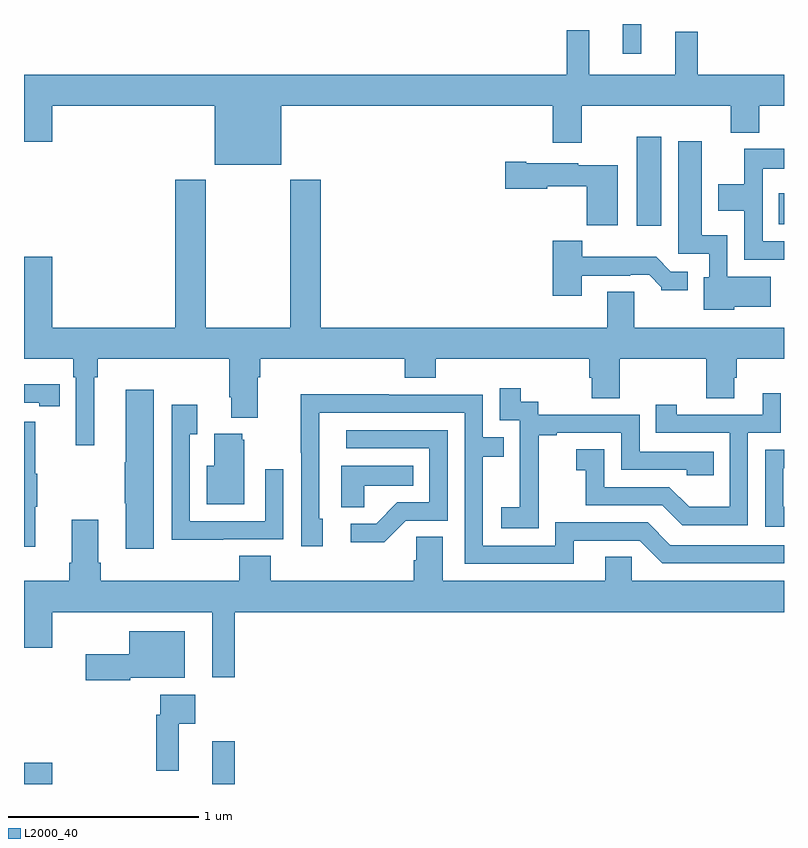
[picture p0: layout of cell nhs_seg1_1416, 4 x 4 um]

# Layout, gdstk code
import gdstk
lib = gdstk.Library(unit=1e-6, precision=1e-09)
def R(c, l, rs):  # rectangles x0, y0, x1, y1
    for r in rs: c.add(gdstk.rectangle(r[:2], r[2:], *l))
def P(c, l, *ps):  # polygons
    for p in ps: c.add(gdstk.Polygon(p, *l))
L2000_40 = (2000, 40)

nhs_seg1_1416 = lib.new_cell('nhs_seg1_1416')
R(nhs_seg1_1416, L2000_40, [(189,512.199,189.148,512.311), (189.992,512.199,190.109,512.425), (192.224,515.136,192.355,515.605), (192.973,515.144,193,515.308), (192.152,516.042,192.249,516.199)])
P(nhs_seg1_1416, L2000_40, [(190.354,515.768),(191.783,515.768),(191.783,515.574),(191.935,515.574),(191.935,515.768),(192.719,515.768),(192.719,515.627),(192.871,515.627),(192.871,515.768),(193,515.768),(193,515.932),(192.545,515.932),(192.545,516.157),(192.428,516.157),(192.428,515.932),(191.975,515.932),(191.975,516.166),(191.857,516.166),(191.857,515.932),(189,515.932),(189,515.58),(189.148,515.58),(189.148,515.768),(190.004,515.768),(190.004,515.459),(190.354,515.459)],
  [(192.738,514.712),(192.931,514.712),(192.931,514.87),(192.702,514.87),(192.702,515.086),(192.568,515.086),(192.568,515.581),(192.443,515.581),(192.443,514.989),(192.606,514.989),(192.606,514.866),(192.578,514.866),(192.578,514.694),(192.738,514.694)],
  [(193,515.055),(192.888,515.055),(192.888,515.438),(193,515.438),(193,515.542),(192.79,515.542),(192.79,515.356),(192.653,515.356),(192.653,515.216),(192.792,515.216),(192.792,514.959),(193,514.959)],
  [(192.124,515.455),(191.916,515.455),(191.916,515.467),(191.644,515.467),(191.644,515.475),(191.532,515.475),(191.532,515.333),(191.754,515.333),(191.754,515.345),(191.962,515.345),(191.962,515.141),(192.124,515.141)],
  [(189.37,514.34),(189.389,514.34),(189.389,514.436),(190.079,514.436),(190.079,514.234),(190.091,514.234),(190.091,514.127),(190.231,514.127),(190.231,514.34),(190.244,514.34),(190.244,514.436),(191.003,514.436),(191.003,514.337),(191.168,514.337),(191.168,514.436),(191.975,514.436),(191.975,514.338),(191.987,514.338),(191.987,514.228),(192.135,514.228),(192.135,514.436),(192.592,514.436),(192.592,514.228),(192.739,514.228),(192.739,514.338),(192.752,514.338),(192.752,514.436),(193,514.436),(193,514.6),(192.211,514.6),(192.211,514.79),(192.071,514.79),(192.071,514.6),(190.562,514.6),(190.562,515.38),(190.402,515.38),(190.402,514.6),(189.957,514.6),(189.957,515.38),(189.797,515.38),(189.797,514.6),(189.148,514.6),(189.148,514.975),(189,514.975),(189,514.436),(189.26,514.436),(189.26,514.34),(189.273,514.34),(189.273,513.981),(189.37,513.981)],
  [(191.935,514.875),(192.191,514.875),(192.191,514.878),(192.29,514.878),(192.354,514.814),(192.354,514.799),(192.493,514.799),(192.493,514.896),(192.405,514.896),(192.327,514.975),(191.938,514.975),(191.938,515.059),(191.783,515.059),(191.783,514.77),(191.935,514.77)],
  [(189.188,514.302),(189.08,514.302),(189.08,514.303),(189,514.303),(189,514.206),(189.08,514.206),(189.08,514.186),(189.188,514.186)],
  [(191.709,513.751),(191.708,513.751),(191.708,514.035),(191.803,514.035),(191.803,514.047),(192.144,514.047),(192.144,513.852),(192.489,513.852),(192.489,513.825),(192.629,513.825),(192.629,513.948),(192.24,513.948),(192.24,514.143),(191.706,514.143),(191.706,514.212),(191.614,514.212),(191.614,514.282),(191.505,514.282),(191.505,514.113),(191.61,514.113),(191.61,513.884),(191.609,513.884),(191.609,513.655),(191.511,513.655),(191.511,513.545),(191.709,513.545)],
  [(189.682,514.273),(189.536,514.273),(189.536,513.893),(189.529,513.893),(189.529,513.676),(189.536,513.676),(189.536,513.438),(189.682,513.438)],
  [(192.81,514.047),(192.984,514.047),(192.984,514.255),(192.887,514.255),(192.887,514.143),(192.436,514.143),(192.436,514.195),(192.325,514.195),(192.325,514.047),(192.714,514.047),(192.714,513.658),(192.5,513.658),(192.396,513.762),(192.054,513.762),(192.054,513.961),(191.907,513.961),(191.907,513.851),(191.956,513.851),(191.956,513.666),(192.359,513.666),(192.464,513.561),(192.81,513.561)],
  [(191.893,513.48),(192.24,513.48),(192.36,513.36),(193,513.36),(193,513.456),(192.402,513.456),(192.282,513.576),(191.796,513.576),(191.796,513.453),(191.415,513.453),(191.415,513.922),(191.525,513.922),(191.525,514.023),(191.415,514.023),(191.415,514.248),(190.919,514.248),(190.919,514.25),(190.456,514.25),(190.456,513.943),(190.458,513.943),(190.458,513.45),(190.573,513.45),(190.573,513.594),(190.554,513.594),(190.554,514.152),(191.319,514.152),(191.319,513.357),(191.893,513.357)],
  [(190.049,513.486),(190.365,513.486),(190.365,513.856),(190.269,513.856),(190.269,513.582),(189.873,513.582),(189.873,514.039),(189.913,514.039),(189.913,514.195),(189.777,514.195),(189.777,513.485),(190.049,513.485)],
  [(189.059,513.659),(189.07,513.659),(189.07,513.833),(189.059,513.833),(189.059,514.105),(189,514.105),(189,513.447),(189.059,513.447)],
  [(191.01,513.585),(191.229,513.585),(191.229,514.062),(190.695,514.062),(190.695,513.966),(191.133,513.966),(191.133,513.681),(190.964,513.681),(190.853,513.57),(190.719,513.57),(190.719,513.472),(190.897,513.472)],
  [(190.159,514.011),(190.148,514.011),(190.148,514.042),(190.001,514.042),(190.001,513.874),(189.962,513.874),(189.962,513.671),(190.159,513.671)],
  [(193,513.657),(192.997,513.657),(192.997,513.861),(193,513.861),(193,513.957),(192.9,513.957),(192.9,513.552),(193,513.552)],
  [(190.791,513.77),(191.048,513.77),(191.048,513.874),(190.67,513.874),(190.67,513.655),(190.791,513.655)],
  [(190.109,513.104),(193,513.104),(193,513.268),(192.198,513.268),(192.198,513.395),(192.059,513.395),(192.059,513.268),(191.203,513.268),(191.203,513.5),(191.064,513.5),(191.064,513.377),(191.051,513.377),(191.051,513.268),(190.298,513.268),(190.298,513.401),(190.133,513.401),(190.133,513.268),(189.404,513.268),(189.404,513.364),(189.391,513.364),(189.391,513.589),(189.251,513.589),(189.251,513.364),(189.239,513.364),(189.239,513.268),(189,513.268),(189,512.916),(189.148,512.916),(189.148,513.104),(189.992,513.104),(189.992,512.76),(190.109,512.76)],
  [(189.558,512.759),(189.847,512.759),(189.847,513.004),(189.554,513.004),(189.554,512.881),(189.324,512.881),(189.324,512.746),(189.558,512.746)],
  [(189.815,512.516),(189.901,512.516),(189.901,512.668),(189.717,512.668),(189.717,512.564),(189.697,512.564),(189.697,512.268),(189.815,512.268)])

lib.write_gds('nhs_seg1_1416.gds')
